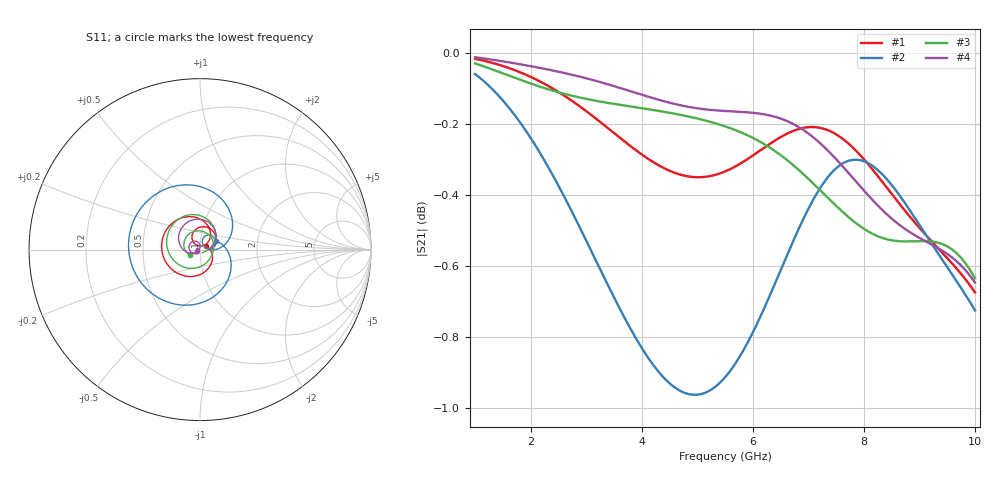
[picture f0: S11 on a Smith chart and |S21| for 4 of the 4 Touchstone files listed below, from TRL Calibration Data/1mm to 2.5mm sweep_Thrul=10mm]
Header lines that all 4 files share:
! Touchstone file exported from HFSS 2018.2.0
!  File:  C:/Users/10024/OneDrive - The University of Nottingham Ningbo China/Year 4/Final Year Project/HFSS project/Passive_Resonator_Antenna.aedt
!  Design:  SMA_Thru
!  Project:  Passive_Resonator_Antenna
!  Setup:  Setup1
!  Solution:  Sweep
! Variables:
# GHZ S MA R 50.000000
! Modal data exported
! Port[1] = SMA_CONNECTOR1_1:1
! Port[2] = SMA_CONNECTOR2_1:1
Fixed: ThruL = 10mm, g = 0.2mm, subH = 0.8mm, subX = 20mm, subY = 20mm, tapW = 1.992mm
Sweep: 1 GHz to 10 GHz
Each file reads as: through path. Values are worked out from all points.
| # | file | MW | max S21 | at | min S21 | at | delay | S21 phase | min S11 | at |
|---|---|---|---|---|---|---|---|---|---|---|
| 1 | 1.5mm.s2p | 1.5mm | -0.02 dB | 1 GHz | -0.7 dB | 10 GHz | 168 ps | 30 deg at 5.5 GHz | -33.6 dB | 7.42 GHz |
| 2 | 1mm.s2p | 1mm | -0.06 dB | 1 GHz | -1.0 dB | 4.96 GHz | 167 ps | 32 deg at 5.5 GHz | -30.1 dB | 8.28 GHz |
| 3 | 2.5mm.s2p | 2.5mm | -0.03 dB | 1 GHz | -0.6 dB | 10 GHz | 169 ps | 27 deg at 5.5 GHz | -33.2 dB | 10 GHz |
| 4 | 2mm.s2p | 2mm | -0.01 dB | 1 GHz | -0.6 dB | 10 GHz | 169 ps | 29 deg at 5.5 GHz | -49.8 dB | 2.66 GHz |
